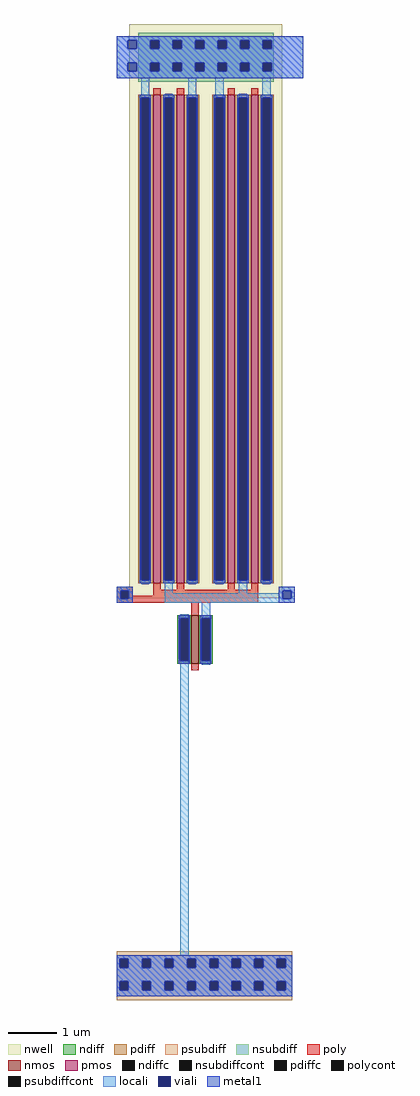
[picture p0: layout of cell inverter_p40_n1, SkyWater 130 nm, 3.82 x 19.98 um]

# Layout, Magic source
magic
tech sky130A
magscale 1 2
<< nwell >>
rect -196 2418 430 2646
rect -148 2410 -114 2418
rect 44 2410 78 2418
rect 156 2410 190 2418
rect 348 2410 382 2418
rect -196 2394 430 2410
rect -148 2360 -114 2394
rect 44 2360 78 2394
rect 156 2360 190 2394
rect 348 2360 382 2394
rect -248 302 -232 318
rect 28 300 206 330
rect 466 302 482 318
<< psubdiff >>
rect -248 -1182 470 -1150
rect -248 -1218 -236 -1182
rect -200 -1218 -144 -1182
rect -108 -1218 -52 -1182
rect -16 -1218 40 -1182
rect 76 -1218 132 -1182
rect 168 -1218 224 -1182
rect 260 -1218 316 -1182
rect 352 -1218 408 -1182
rect 444 -1218 470 -1182
rect -248 -1274 470 -1218
rect -248 -1310 -236 -1274
rect -200 -1310 -144 -1274
rect -108 -1310 -52 -1274
rect -16 -1310 40 -1274
rect 76 -1310 132 -1274
rect 168 -1310 224 -1274
rect 260 -1310 316 -1274
rect 352 -1310 408 -1274
rect 444 -1310 470 -1274
rect -248 -1350 470 -1310
<< nsubdiff >>
rect -160 2580 394 2610
rect -160 2544 -110 2580
rect -74 2544 -18 2580
rect 18 2544 74 2580
rect 110 2544 166 2580
rect 202 2544 258 2580
rect 294 2544 350 2580
rect 386 2544 394 2580
rect -160 2488 394 2544
rect -160 2452 -110 2488
rect -74 2452 -18 2488
rect 18 2452 74 2488
rect 110 2452 166 2488
rect 202 2452 258 2488
rect 294 2452 350 2488
rect 386 2452 394 2488
rect -160 2410 394 2452
<< psubdiffcont >>
rect -236 -1218 -200 -1182
rect -144 -1218 -108 -1182
rect -52 -1218 -16 -1182
rect 40 -1218 76 -1182
rect 132 -1218 168 -1182
rect 224 -1218 260 -1182
rect 316 -1218 352 -1182
rect 408 -1218 444 -1182
rect -236 -1310 -200 -1274
rect -144 -1310 -108 -1274
rect -52 -1310 -16 -1274
rect 40 -1310 76 -1274
rect 132 -1310 168 -1274
rect 224 -1310 260 -1274
rect 316 -1310 352 -1274
rect 408 -1310 444 -1274
<< nsubdiffcont >>
rect -110 2544 -74 2580
rect -18 2544 18 2580
rect 74 2544 110 2580
rect 166 2544 202 2580
rect 258 2544 294 2580
rect 350 2544 386 2580
rect -110 2452 -74 2488
rect -18 2452 18 2488
rect 74 2452 110 2488
rect 166 2452 202 2488
rect 258 2452 294 2488
rect 350 2452 386 2488
<< poly >>
rect -248 326 -182 342
rect -248 292 -232 326
rect -198 306 -182 326
rect 28 306 206 330
rect -198 300 206 306
rect -198 292 332 300
rect -248 276 332 292
rect 58 252 88 276
<< polycont >>
rect -232 292 -198 326
<< locali >>
rect -248 2580 516 2596
rect -248 2544 -202 2580
rect -166 2544 -110 2580
rect -74 2544 -18 2580
rect 18 2544 74 2580
rect 110 2544 166 2580
rect 202 2544 258 2580
rect 294 2544 350 2580
rect 386 2544 516 2580
rect -248 2488 516 2544
rect -248 2452 -202 2488
rect -166 2452 -110 2488
rect -74 2452 -18 2488
rect 18 2452 74 2488
rect 110 2452 166 2488
rect 202 2452 258 2488
rect 294 2452 350 2488
rect 386 2452 516 2488
rect -248 2424 516 2452
rect -148 2360 -114 2424
rect 44 2360 78 2424
rect 156 2360 190 2424
rect 348 2360 382 2424
rect -248 326 -182 342
rect -248 292 -232 326
rect -198 292 -182 326
rect -248 276 -182 292
rect -52 316 -18 368
rect 252 316 286 352
rect 416 326 482 342
rect 416 316 432 326
rect -52 292 432 316
rect 466 292 482 326
rect -52 276 482 292
rect 100 230 134 276
rect 12 -1166 46 22
rect -248 -1182 470 -1166
rect -248 -1218 -236 -1182
rect -200 -1218 -144 -1182
rect -108 -1218 -52 -1182
rect -16 -1218 40 -1182
rect 76 -1218 132 -1182
rect 168 -1218 224 -1182
rect 260 -1218 316 -1182
rect 352 -1218 408 -1182
rect 444 -1218 470 -1182
rect -248 -1274 470 -1218
rect -248 -1310 -236 -1274
rect -200 -1310 -144 -1274
rect -108 -1310 -52 -1274
rect -16 -1310 40 -1274
rect 76 -1310 132 -1274
rect 168 -1310 224 -1274
rect 260 -1310 316 -1274
rect 352 -1310 408 -1274
rect 444 -1310 470 -1274
rect -248 -1334 470 -1310
<< viali >>
rect -202 2544 -166 2580
rect -110 2544 -74 2580
rect -18 2544 18 2580
rect 74 2544 110 2580
rect 166 2544 202 2580
rect 258 2544 294 2580
rect 350 2544 386 2580
rect -202 2452 -166 2488
rect -110 2452 -74 2488
rect -18 2452 18 2488
rect 74 2452 110 2488
rect 166 2452 202 2488
rect 258 2452 294 2488
rect 350 2452 386 2488
rect -232 292 -198 326
rect 432 292 466 326
rect -236 -1218 -200 -1182
rect -144 -1218 -108 -1182
rect -52 -1218 -16 -1182
rect 40 -1218 76 -1182
rect 132 -1218 168 -1182
rect 224 -1218 260 -1182
rect 316 -1218 352 -1182
rect 408 -1218 444 -1182
rect -236 -1310 -200 -1274
rect -144 -1310 -108 -1274
rect -52 -1310 -16 -1274
rect 40 -1310 76 -1274
rect 132 -1310 168 -1274
rect 224 -1310 260 -1274
rect 316 -1310 352 -1274
rect 408 -1310 444 -1274
<< metal1 >>
rect -248 2580 516 2596
rect -248 2544 -202 2580
rect -166 2544 -110 2580
rect -74 2544 -18 2580
rect 18 2544 74 2580
rect 110 2544 166 2580
rect 202 2544 258 2580
rect 294 2544 350 2580
rect 386 2544 516 2580
rect -248 2488 516 2544
rect -248 2452 -202 2488
rect -166 2452 -110 2488
rect -74 2452 -18 2488
rect 18 2452 74 2488
rect 110 2452 166 2488
rect 202 2452 258 2488
rect 294 2452 350 2488
rect 386 2452 516 2488
rect -248 2424 516 2452
rect -248 326 -182 342
rect -248 292 -232 326
rect -198 292 -182 326
rect -248 276 -182 292
rect 416 326 482 342
rect 416 292 432 326
rect 466 292 482 326
rect 416 276 482 292
rect -248 -1182 470 -1166
rect -248 -1218 -236 -1182
rect -200 -1218 -144 -1182
rect -108 -1218 -52 -1182
rect -16 -1218 40 -1182
rect 76 -1218 132 -1182
rect 168 -1218 224 -1182
rect 260 -1218 316 -1182
rect 352 -1218 408 -1182
rect 444 -1218 470 -1182
rect -248 -1274 470 -1218
rect -248 -1310 -236 -1274
rect -200 -1310 -144 -1274
rect -108 -1310 -52 -1274
rect -16 -1310 40 -1274
rect 76 -1310 132 -1274
rect 168 -1310 224 -1274
rect 260 -1310 316 -1274
rect 352 -1310 408 -1274
rect 444 -1310 470 -1274
rect -248 -1334 470 -1310
use sky130_fd_pr__nfet_01v8_QDUU3W  sky130_fd_pr__nfet_01v8_QDUU3W_0
transform 1 0 73 0 1 126
box -73 -126 73 126
use sky130_fd_pr__pfet_01v8_WELYR5  sky130_fd_pr__pfet_01v8_WELYR5_0
transform 1 0 -35 0 1 1356
box -161 -1062 161 1062
use sky130_fd_pr__pfet_01v8_WELYR5  sky130_fd_pr__pfet_01v8_WELYR5_1
transform 1 0 269 0 1 1356
box -161 -1062 161 1062
<< end >>

# cell sky130_fd_pr__nfet_01v8_QDUU3W: kit device sky130_fd_pr__nfet_01v8, w 1 l 0.150 m 1 nf 1 diffcov 100 polycov 100 guard 0 glc 1 grc 1 gtc 1 gbc 1 tbcov 100 rlcov 100 topc 0 botc 0 poverlap 0 doverlap 1 lmin 0.15 wmin 0.42 class mosfet compatible {sky130_fd_pr__nfet_01v8 sky130_fd_pr__nfet_01v8_lvt sky130_fd_bs_flash__special_sonosfet_star sky130_fd_pr__nfet_g5v0d10v5 sky130_fd_pr__nfet_05v0_nvt sky130_fd_pr__nfet_03v3_nvt} full_metal 0 viasrc 100 viadrn 100 viagate 100 viagb 0 viagr 0 viagl 0 viagt 0

# cell sky130_fd_pr__pfet_01v8_WELYR5: kit device sky130_fd_pr__pfet_01v8, w 10 l 0.15 m 1 nf 2 diffcov 100 polycov 100 guard 0 glc 1 grc 1 gtc 1 gbc 1 tbcov 100 rlcov 100 topc 0 botc 0 poverlap 0 doverlap 1 lmin 0.15 wmin 0.42 class mosfet compatible {sky130_fd_pr__pfet_01v8 sky130_fd_pr__pfet_01v8_lvt sky130_fd_pr__pfet_01v8_hvt sky130_fd_pr__pfet_g5v0d10v5} full_metal 0 viasrc 100 viadrn 100 viagate 100 viagb 0 viagr 0 viagl 0 viagt 0
